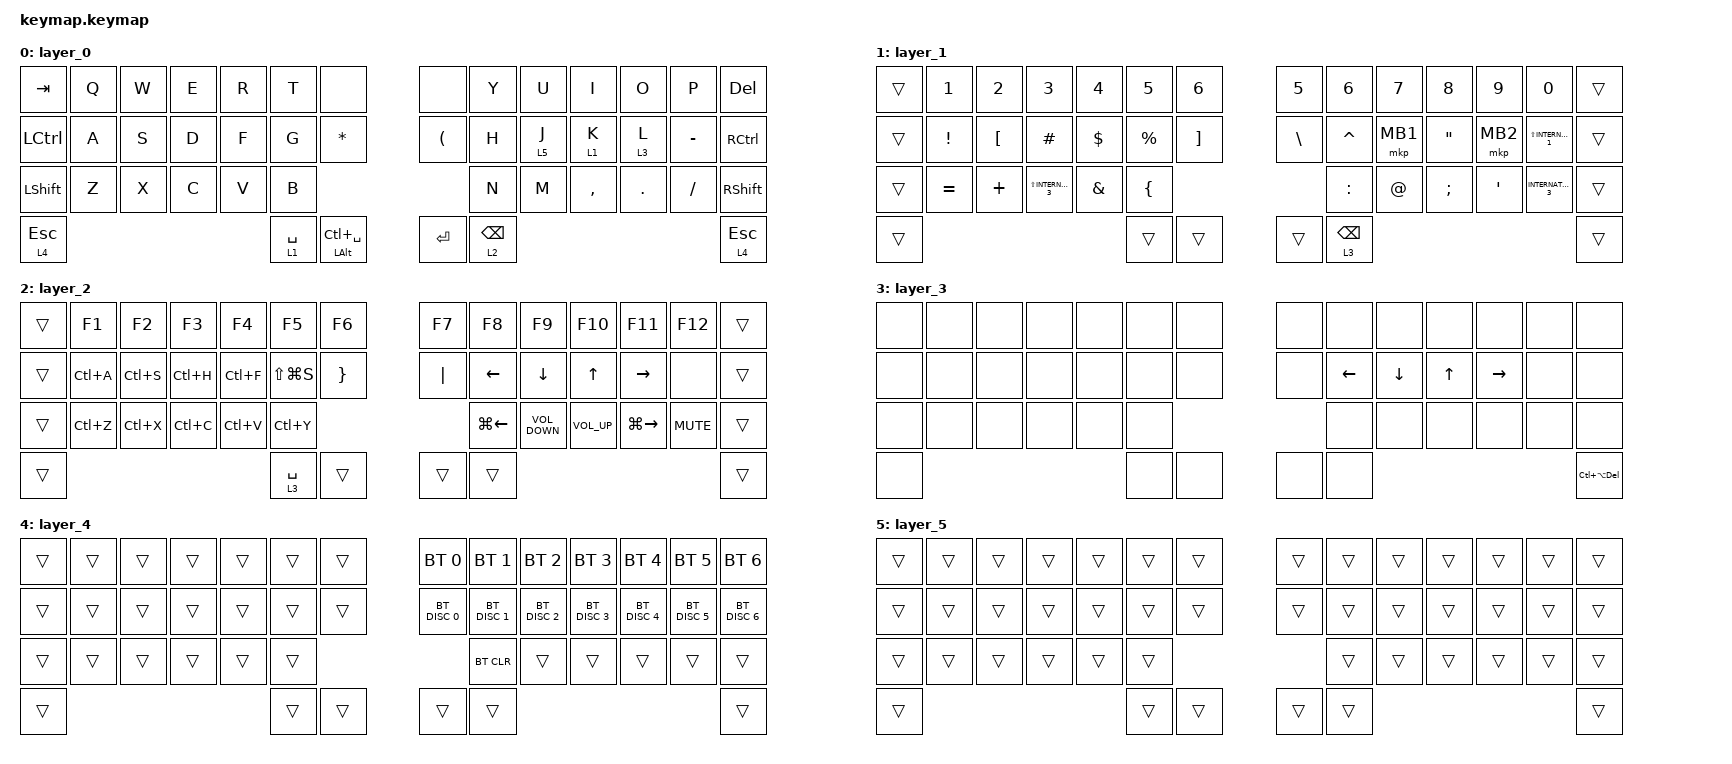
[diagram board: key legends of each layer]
#include <behaviors.dtsi>
#include <dt-bindings/zmk/bt.h>
#include <dt-bindings/zmk/keys.h>
#include <dt-bindings/zmk/pointing.h>

/ {
    keymap {
        compatible = "zmk,keymap";

        layer_0 {
            bindings = <
&kp TAB           &kp Q  &kp W  &kp E  &kp R  &kp T        &none                   &none                 &kp Y            &kp U    &kp I      &kp O    &kp P      &kp DEL
&kp LEFT_CONTROL  &kp A  &kp S  &kp D  &kp F  &kp G        &kp ASTERISK            &kp LEFT_PARENTHESIS  &kp H            &lt 5 J  &lt 1 K    &lt 3 L  &kp MINUS  &kp RIGHT_CONTROL
&kp LEFT_SHIFT    &kp Z  &kp X  &kp C  &kp V  &kp B                                                      &kp N            &kp M    &kp COMMA  &kp DOT  &kp SLASH  &kp RIGHT_SHIFT
&lt 4 ESCAPE                                  &lt 1 SPACE  &mt LEFT_ALT LC(SPACE)  &kp ENTER             &lt 2 BACKSPACE                                          &lt 4 ESCAPE
            >;
        };

        layer_1 {
            bindings = <
&trans  &kp NUMBER_1     &kp NUMBER_2      &kp NUMBER_3             &kp NUMBER_4   &kp NUMBER_5    &kp NUMBER_6       &kp NUMBER_5   &kp NUMBER_6     &kp NUMBER_7  &kp NUMBER_8       &kp NUMBER_9      &kp NUMBER_0             &trans
&trans  &kp EXCLAMATION  &kp LEFT_BRACKET  &kp HASH                 &kp DOLLAR     &kp PERCENT     &kp RIGHT_BRACKET  &kp BACKSLASH  &kp CARET        &mkp MB1      &kp DOUBLE_QUOTES  &mkp MB2          &kp LS(INTERNATIONAL_1)  &trans
&trans  &kp EQUAL        &kp PLUS          &kp LS(INTERNATIONAL_3)  &kp AMPERSAND  &kp LEFT_BRACE                                    &kp COLON        &kp AT_SIGN   &kp SEMICOLON      &kp SINGLE_QUOTE  &kp INTERNATIONAL_3      &trans
&trans                                                                             &trans          &trans             &trans         &lt 3 BACKSPACE                                                                              &trans
            >;
        };

        layer_2 {
            bindings = <
&trans  &kp F1     &kp F2     &kp F3     &kp F4     &kp F5         &kp F6           &kp F7    &kp F8        &kp F9             &kp F10          &kp F11        &kp F12     &trans
&trans  &kp LC(A)  &kp LC(S)  &kp LC(H)  &kp LC(F)  &kp LS(LG(S))  &kp RIGHT_BRACE  &kp PIPE  &kp LEFT      &kp DOWN           &kp UP           &kp RIGHT      &none       &trans
&trans  &kp LC(Z)  &kp LC(X)  &kp LC(C)  &kp LC(V)  &kp LC(Y)                                 &kp LG(LEFT)  &kp C_VOLUME_DOWN  &kp C_VOLUME_UP  &kp LG(RIGHT)  &kp C_MUTE  &trans
&trans                                              &lt 3 SPACE    &trans           &trans    &trans                                                                       &trans
            >;
        };

        layer_3 {
            bindings = <
&none  &none  &none  &none  &none  &none  &none  &none  &none     &none     &none   &none      &none  &none
&none  &none  &none  &none  &none  &none  &none  &none  &kp LEFT  &kp DOWN  &kp UP  &kp RIGHT  &none  &none
&none  &none  &none  &none  &none  &none                &none     &none     &none   &none      &none  &none
&none                              &none  &none  &none  &none                                         &kp LC(LA(DELETE))
            >;
        };

        layer_4 {
            bindings = <
&trans  &trans  &trans  &trans  &trans  &trans  &trans  &bt BT_SEL 0   &bt BT_SEL 1   &bt BT_SEL 2   &bt BT_SEL 3   &bt BT_SEL 4   &bt BT_SEL 5  &bt BT_SEL 6
&trans  &trans  &trans  &trans  &trans  &trans  &trans  &bt BT_DISC 0  &bt BT_DISC 1  &bt BT_DISC 2  &bt BT_DISC 3  &bt BT_DISC 4  &bt BT_DISC 5  &bt BT_DISC 6
&trans  &trans  &trans  &trans  &trans  &trans                         &bt BT_CLR     &trans         &trans         &trans         &trans  &trans
&trans                                  &trans  &trans  &trans         &trans                                                              &trans
            >;
        };

        layer_5 {
            bindings = <
&trans  &trans  &trans  &trans  &trans  &trans  &trans  &trans  &trans  &trans  &trans  &trans  &trans  &trans
&trans  &trans  &trans  &trans  &trans  &trans  &trans  &trans  &trans  &trans  &trans  &trans  &trans  &trans
&trans  &trans  &trans  &trans  &trans  &trans                  &trans  &trans  &trans  &trans  &trans  &trans
&trans                                  &trans  &trans  &trans  &trans                                  &trans
            >;
        };
    };
};
